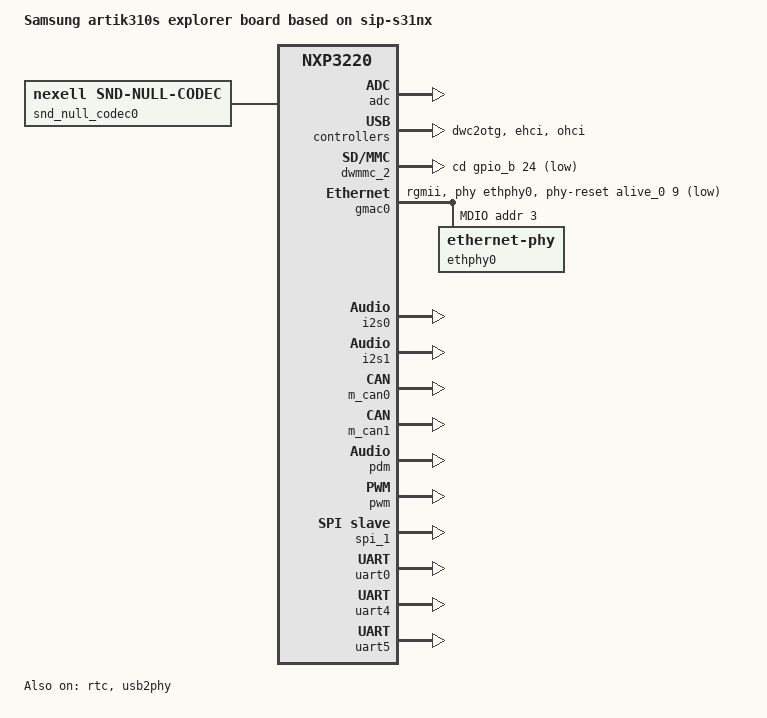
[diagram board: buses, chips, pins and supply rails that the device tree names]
// SPDX-License-Identifier: (GPL-2.0+ OR MIT)

/dts-v1/;
#include <dt-bindings/gpio/gpio.h>
#include <dt-bindings/reset/nexell,nxp3220-reset.h>
#include "sip-s31nx-artik310s.dtsi"

/ {
	model = "Samsung artik310s explorer board based on sip-s31nx";
	compatible = "samsung,artik310s-explorer", "samsung,artik310s",
		   "nexell,nxp3220";

	chosen {
		stdout-path = &uart0;
	};

	/* Null codec for PDM reference i2s */
	snd_null_codec0: snd_null_codec@0 {
		#sound-dai-cells = <0>;
		compatible = "nexell,snd-null-codec";
		status = "okay";
	};

	sound0: sound@0 {
		compatible = "simple-audio-card";
		simple-audio-card,name = "nxp3220 Audio Card Loopback";
		status = "okay";

		simple-audio-card,dai-link@0 {
			mclk-fs = <256>;
			format = "i2s";
			frame-master = <&sndcpu0>;
			bitclock-master = <&sndcpu0>;

			sndcpu0: cpu  {
				sound-dai = <&i2s0 0>;
			};

			sndcodec0: codec {
				sound-dai = <&snd_null_codec0>;
			};
		};

		simple-audio-card,dai-link@1 {
			mclk-fs = <256>;
			format = "i2s";
			frame-master = <&sndcodec2>;
			bitclock-master = <&sndcodec2>;

			sndcpu2: cpu  {
				sound-dai = <&i2s1 0>;
			};

			sndcodec2: codec {
				sound-dai = <&snd_null_codec0>;
			};
		};
	};

	sound-pdm {
		compatible = "nexell,nxp3220-pdm-card";
		snd-controller = <&pdm>;
	};

};

&adc {
	status = "okay";
};

&dwc2otg {
	status = "okay";
};

&dwmmc_2 {
	cap-sd-highspeed;
	cd-gpios = <&gpio_b 24 0>;
	cd-inverted;
	clock-frequency = <200000000>;
	nexell,drive_shift = <0x01>;
	nexell,sample_shift = <0x00>;
	card-detect-delay = <200>;
	disable-wp;
	status = "okay";
};

&ehci {
	status = "okay";
};

&gmac0 {
	status = "okay";

	pinctrl-names = "default";
	pinctrl-0 = <&gmac0_pins>;
	phy-mode = "rgmii";
	phy-handle = <&ethphy0>;
	assigned-clocks = <&cmu CLK_GMAC_RGMII0_AXI>,
			  <&cmu CLK_GMAC_RGMII0_APB>,
			  <&cmu CLK_GMAC_RGMII0_PTP_REF>;
	assigned-clock-rates = <250000000>, <125000000>, <25000000>;

	phy-reset-gpios = <&alive_0 9 GPIO_ACTIVE_LOW>;
	phy-intr-gpios = <&alive_0 5 GPIO_ACTIVE_LOW>;
	phy-pme-gpios = <&alive_0 2 GPIO_ACTIVE_LOW>;

	mdio@3 {
		#address-cells = <1>;
		#size-cells = <0>;

		ethphy0: ethernet-phy@3 {
			reg = <3>;
		};
	};
};

&gmac0_phyint {
	nexell,pins = "alive-5";
};

&gmac0_pme {
	nexell,pins = "alive-2";
};

&i2s0 {
	frame-bit = <32>;
	sample-rate = <48000>;
	assigned-clock-rates = <12288000>;
	status = "okay";
};

&i2s1 {
	frame-bit = <32>;
	sample-rate = <48000>;
	assigned-clock-rates = <12288000>;
	status = "okay";
};

&m_can0 {
	status = "okay";
	assigned-clocks = <&cmu CLK_CAN0_CORE>;
	assigned-clock-rates = <10000000>;
};

&m_can1 {
	status = "okay";
	assigned-clocks = <&cmu CLK_CAN1_CORE>;
	assigned-clock-rates = <10000000>;
};

&mmc2_clk {
	nexell,pin-strength = <NX_PIN_STR1>;
};

&ohci {
	status = "okay";
};

&pdm {
	ref-iis = <1>;
	sample-rate = <16000>;
	assigned-clocks = <&cmu CLK_PDM0_AXI>;
	assigned-clock-rates = <200000000>;
	strobe-hz = <1024000>;
	status = "okay";
};

&pwm {
	status = "okay";
	nexell,pwm-outputs = <0>, <1>, <2>, <3>;
	assigned-clocks = <&cmu CLK_PWM0_APB>;
	assigned-clock-rates = <166000000>;
};

&rtc {
	status = "okay";
};

&spi_1 {
	status = "okay";
	syscon0 = <&sys_reg_sys>;
	assigned-clocks = <&cmu CLK_SPI1_APB>, <&cmu CLK_SPI1_CORE>;
	assigned-clock-rates = <200000000>, <200000000>;
	cs-gpios = <&gpio_a 9 0>;

	spi-dma;
	spi-slave;
	slave-sel-offset = <0x34>;

	resets = <&cmu CLK_RESET_SPI1_CORE>;

	slave {
		compatible = "linux,spidev";
	};
};

&uart0 {
	status = "okay";
};

&uart4 {
	status = "okay";
	pinctrl-0 = <&uart4_bus &uart4_485>;
	linux,rs485-enabled-at-boot-time;
	rs485-rts-active-low;
};

&uart5 {
	status = "okay";
	pinctrl-0 = <&uart5_bus &uart5_485>;
	linux,rs485-enabled-at-boot-time;
	rs485-rts-active-low;
};

&usb2phy {
	status = "okay";
	otg,vbus-tune = <1>;
};
